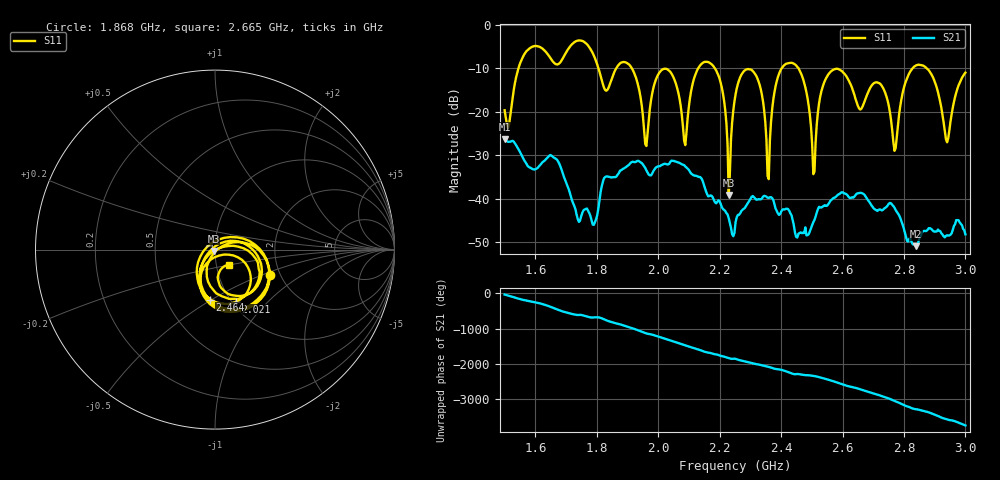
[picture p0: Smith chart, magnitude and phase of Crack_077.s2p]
# HZ S RI R 50
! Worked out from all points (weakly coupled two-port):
!   404 points, 1.5 GHz to 3 GHz, reference 50 ohm
!   highest |S21| = -26.33 dB at 1.5 GHz (marker M1); lowest = -50.9 dB at 2.84 GHz (marker M2)
!   lowest |S11| = -39.1 dB at 2.23 GHz (marker M3), VSWR 1.02, Z = 49.2 - j0.715 ohm
!   |S11| at or under -10 dB: 1.914 GHz to 2.13 GHz (215.7 MHz wide, 10.7 % of centre); 2.185 GHz to 2.402 GHz (216.9 MHz wide, 9.46 % of centre); 2.457 GHz to 2.828 GHz (370.8 MHz wide, 14 % of centre) (the widest 3 of 6)
!   S12 and S22 are empty: the file has one direction only
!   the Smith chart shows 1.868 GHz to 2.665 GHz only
!   S11 on the Smith chart (normalised r, x): 1.868 GHz: 1.77, -0.57; 2.021 GHz: 1.05, -0.67; 2.464 GHz: 0.81, -0.49; 2.665 GHz: 1.15, -0.20
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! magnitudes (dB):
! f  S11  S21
! 1.5 GHz  -19.6  -26.3
! 1.753 GHz  -3.7  -43.2
! 1.868 GHz  -9.4  -34.4
! 1.962 GHz  -27.9  -33.5
! 2.002 GHz  -11.1  -32.5
! 2.021 GHz  -10.1  -32.0
! 2.088 GHz  -27.6  -32.6
! 2.181 GHz  -9.6  -40.3
! 2.23 GHz  -39.1  -44.5
! 2.252 GHz  -16.0  -45.4
! 2.315 GHz  -11.3  -39.9
! 2.36 GHz  -35.5  -39.8
! 2.397 GHz  -10.6  -43.5
! 2.464 GHz  -11.0  -47.8
! 2.501 GHz  -27.6  -46.0
! 2.565 GHz  -10.6  -40.2
! 2.665 GHz  -18.8  -38.8
! 2.751 GHz  -18.6  -41.2
! 2.773 GHz  -28.4  -42.6
! 2.84 GHz  -9.3  -50.9
! 2.94 GHz  -27.0  -48.4
! 3 GHz  -11.0  -48.2
